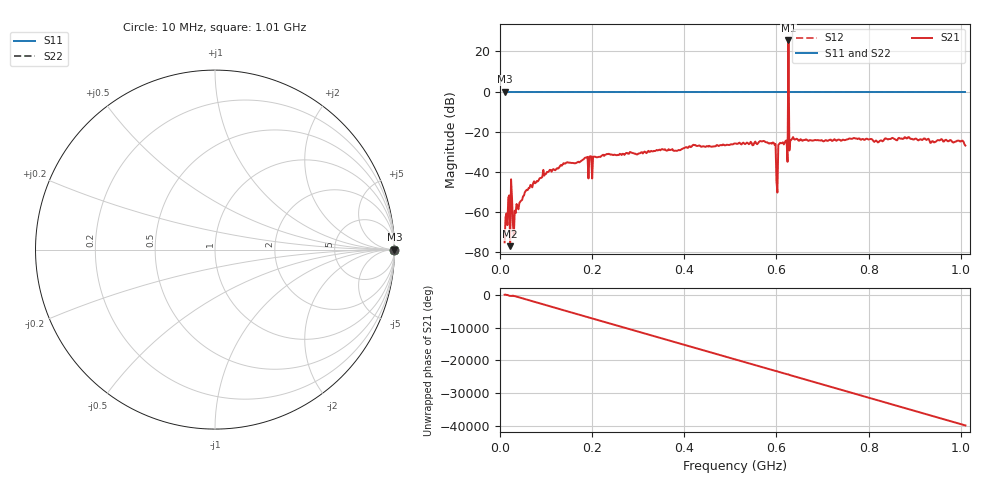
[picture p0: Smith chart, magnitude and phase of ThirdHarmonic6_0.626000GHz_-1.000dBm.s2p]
! 8/15/2025 8:37:50 PM
! C:\ANRITSUVNA\TEMP\TEMP.S2P
! CHANNEL.1
! TR.MEASUREMENT
! RAW.DATA
! RF.CORRECTION.OFF
! AVERAGING.OFF
! IF.BANDWIDTH: 5KHZ
! SWEEPTYPE:  FREQ.SWEEP(Linear)
! Reference Plane Port Info
! PORT:  PORT1  PORT2
! DISTANCE:  0  m  0  m
! TIME:  0  s  0  s
! PHASE.OFFSET:  0  deg.  0  deg.
! LOSS:  0  dB  0  dB
! REF.LOSS:  0  dB  0  dB
! REF.FREQ:  0  Hz  0  Hz
! Power Info
! POWER:  -20  dBm  -20  dBm
! EFF.POWER:  -20  dBm  -20  dBm
! SOURCE.ATTEN:  0  dB  0  dB
! TEST.ATTEN:  0  dB  0  dB
# GHZ S RI R 50.0
! FREQ.GHZ  S11RE  S11IM  S21RE  S21IM  S12RE  S12IM  S22RE  S22IM
!; PortSelection: Port_12
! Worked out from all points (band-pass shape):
!   501 points, 10 MHz to 1.01 GHz, reference 50 ohm
!   highest |S21| = 25.49 dB at 626 MHz (marker M1); lowest = -76.9 dB at 22 MHz (marker M2)
!   |S21| within 3 dB of the highest: 625.9007 MHz to 626.1097 MHz (209 kHz wide, 0.0334 % of centre)
!   lowest |S11| = 0.0 dB at 10 MHz (marker M3)
!   |S11| at or under -10 dB: nowhere
!   |S22| runs from 0.0 to 0.0 dB; largest |S21 - S12| = 20
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0.01  1 0  0.000109 0.000142  1 0  1 0
0.016  1 0  0.000471 -8.08e-05  1 0  1 0
0.022  1 0  0.000119 8.04e-05  1 0  1 0
0.026  1 0  0.00228 0.00066  1 0  1 0
0.032  1 0  0.00106 -0.000296  1 0  1 0
0.054  1 0  -0.00315 -0.000282  1 0  1 0
0.09  1 0  -0.00667 0.00268  1 0  1 0
0.178  1 0  -0.0196 -0.000834  1 0  1 0
0.344  1 0  0.0286 -0.0208  1 0  1 0
0.51  1 0  -0.025 0.0452  1 0  1 0
0.594  1 0  0.0447 -0.0292  1 0  1 0
0.6  1 0  -0.00434 0.00408  1 0  1 0
0.604  1 0  0.017 -0.0444  1 0  1 0
0.608  1 0  -0.037 0.0387  1 0  1 0
0.62  1 0  0.0594 0.00893  1 0  1 0
0.622  1 0  0.0217 -0.057  1 0  1 0
0.626  1 0  -16.79 -8.482  1 0  1 0
0.63  1 0  0.0493 -0.0365  1 0  1 0
0.632  1 0  -0.0292 -0.0562  1 0  1 0
0.678  1 0  -0.0607 -0.000935  1 0  1 0
0.844  1 0  0.0523 -0.0408  1 0  1 0
1.01  1 0  -0.00141 0.0457  1 0  1 0
